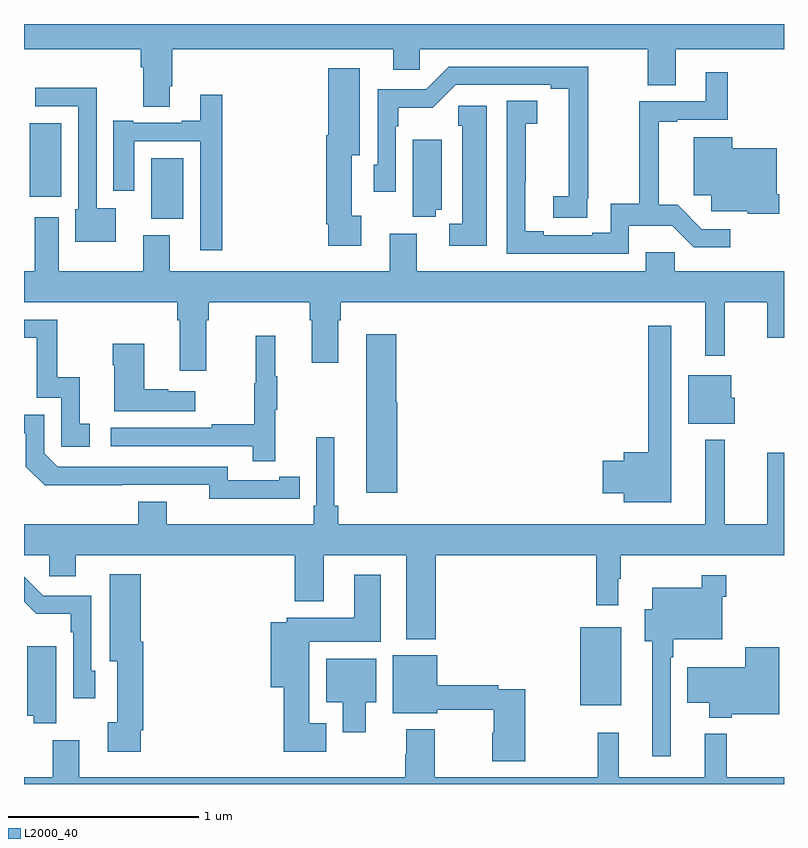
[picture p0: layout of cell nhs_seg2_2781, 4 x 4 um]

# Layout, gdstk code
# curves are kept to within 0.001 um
import gdstk
lib = gdstk.Library(unit=1e-6, precision=1e-09)
def R(c, l, rs):  # rectangles x0, y0, x1, y1
    for r in rs: c.add(gdstk.rectangle(r[:2], r[2:], *l))
def P(c, l, *ps):  # polygons
    for p in ps: c.add(gdstk.Polygon(p, *l))
L2000_40 = (2000, 40)

nhs_seg2_2781 = lib.new_cell('nhs_seg2_2781')
R(nhs_seg2_2781, L2000_40, [(259.928,612.215,260.143,612.625), (257.669,614.774,257.839,615.094), (257.03,614.891,257.197,615.277)])
P(nhs_seg2_2781, L2000_40, [(257.767,615.472),(257.779,615.472),(257.779,615.668),(258.944,615.668),(258.944,615.558),(259.083,615.558),(259.083,615.668),(260.284,615.668),(260.284,615.478),(260.431,615.478),(260.431,615.668),(261,615.668),(261,615.8),(257,615.8),(257,615.668),(257.615,615.668),(257.615,615.572),(257.627,615.572),(257.627,615.364),(257.767,615.364)],
  [(259.964,614.881),(259.97,614.881),(259.97,615.576),(259.236,615.576),(259.116,615.456),(258.861,615.456),(258.861,615.06),(258.84,615.06),(258.84,614.916),(258.957,614.916),(258.957,615.263),(258.97,615.263),(258.97,615.359),(259.151,615.359),(259.272,615.48),(259.772,615.48),(259.772,615.46),(259.868,615.46),(259.867,614.894),(259.785,614.894),(259.785,614.779),(259.964,614.779)],
  [(258.775,614.79),(258.724,614.79),(258.724,615.11),(258.766,615.11),(258.766,615.568),(258.602,615.568),(258.602,615.214),(258.59,615.214),(258.59,614.746),(258.602,614.746),(258.602,614.634),(258.775,614.634)],
  [(260.184,614.738),(260.413,614.738),(260.526,614.625),(260.716,614.625),(260.716,614.721),(260.568,614.721),(260.441,614.848),(260.342,614.848),(260.342,615.285),(260.437,615.285),(260.437,615.297),(260.705,615.297),(260.705,615.547),(260.588,615.547),(260.588,615.393),(260.239,615.393),(260.239,614.855),(260.088,614.855),(260.088,614.702),(259.991,614.702),(259.991,614.688),(259.735,614.688),(259.735,614.708),(259.639,614.708),(259.639,614.971),(259.641,614.971),(259.641,615.275),(259.702,615.275),(259.702,615.395),(259.542,615.395),(259.542,614.592),(260.184,614.592)],
  [(257.482,614.83),(257.382,614.83),(257.382,615.464),(257.058,615.464),(257.058,615.366),(257.286,615.366),(257.286,614.826),(257.27,614.826),(257.27,614.654),(257.482,614.654)],
  [(258.044,615.427),(257.927,615.427),(257.927,615.292),(257.831,615.292),(257.831,615.279),(257.575,615.279),(257.575,615.292),(257.471,615.292),(257.471,614.922),(257.581,614.922),(257.581,615.183),(257.928,615.183),(257.928,614.61),(258.044,614.61)],
  [(259.435,615.37),(259.285,615.37),(259.285,615.264),(259.307,615.264),(259.307,614.748),(259.239,614.748),(259.239,614.633),(259.435,614.633)],
  [(260.975,614.905),(260.962,614.905),(260.962,615.145),(260.728,615.145),(260.728,615.205),(260.525,615.205),(260.525,614.9),(260.616,614.9),(260.616,614.814),(260.808,614.814),(260.808,614.801),(260.975,614.801)],
  [(259.166,614.822),(259.198,614.822),(259.198,615.19),(259.046,615.19),(259.046,614.785),(259.166,614.785)],
  [(257.959,614.24),(257.972,614.24),(257.972,614.336),(258.503,614.336),(258.503,614.24),(258.515,614.24),(258.515,614.016),(258.655,614.016),(258.655,614.24),(258.668,614.24),(258.668,614.336),(260.585,614.336),(260.585,614.055),(260.689,614.055),(260.689,614.336),(260.912,614.336),(260.912,614.148),(261,614.148),(261,614.5),(260.425,614.5),(260.425,614.598),(260.273,614.598),(260.273,614.5),(259.066,614.5),(259.066,614.695),(258.926,614.695),(258.926,614.5),(257.767,614.5),(257.767,614.689),(257.627,614.689),(257.627,614.5),(257.182,614.5),(257.182,614.782),(257.057,614.782),(257.057,614.5),(257,614.5),(257,614.336),(257.807,614.336),(257.807,614.24),(257.819,614.24),(257.819,613.974),(257.959,613.974)],
  [(257.347,613.695),(257.294,613.695),(257.294,613.942),(257.176,613.942),(257.176,614.244),(257,614.244),(257,614.148),(257.067,614.148),(257.067,613.833),(257.196,613.833),(257.196,613.575),(257.347,613.575)],
  [(260.407,614.212),(260.286,614.212),(260.286,613.546),(260.156,613.546),(260.156,613.502),(260.045,613.502),(260.045,613.331),(260.156,613.331),(260.156,613.283),(260.407,613.283)],
  [(258.964,613.809),(258.959,613.809),(258.959,614.167),(258.8,614.167),(258.8,613.332),(258.964,613.332)],
  [(258.323,613.771),(258.334,613.771),(258.334,613.945),(258.323,613.945),(258.323,614.158),(258.22,614.158),(258.22,613.908),(258.213,613.908),(258.213,613.694),(257.989,613.694),(257.989,613.674),(257.457,613.674),(257.457,613.578),(258.205,613.578),(258.205,613.5),(258.323,613.5)],
  [(257.902,613.867),(257.759,613.867),(257.759,613.877),(257.632,613.877),(257.632,614.116),(257.467,614.116),(257.467,614.003),(257.474,614.003),(257.474,613.763),(257.902,613.763)],
  [(260.74,613.833),(260.722,613.833),(260.722,613.951),(260.495,613.951),(260.495,613.697),(260.74,613.697)],
  [(258.344,613.302),(258.452,613.302),(258.452,613.418),(258.344,613.418),(258.344,613.398),(258.072,613.398),(258.072,613.47),(257.178,613.47),(257.106,613.542),(257.106,613.743),(257,613.743),(257,613.647),(257.01,613.647),(257.01,613.47),(257.108,613.373),(257.976,613.374),(257.976,613.301)],
  [(259.166,613.004),(260.011,613.004),(260.011,612.741),(260.128,612.741),(260.128,612.881),(260.14,612.881),(260.14,613.004),(261,613.004),(261,613.543),(260.912,613.543),(260.912,613.168),(260.689,613.168),(260.689,613.612),(260.585,613.612),(260.585,613.168),(258.653,613.168),(258.653,613.264),(258.634,613.264),(258.634,613.624),(258.537,613.624),(258.537,613.264),(258.524,613.264),(258.524,613.168),(257.752,613.168),(257.752,613.285),(257.6,613.285),(257.6,613.168),(257,613.168),(257,613.004),(257.133,613.004),(257.133,612.894),(257.272,612.894),(257.272,613.004),(258.425,613.004),(258.425,612.761),(258.577,612.761),(258.577,613.004),(259.013,613.004),(259.013,612.563),(259.166,612.563)],
  [(257.614,612.082),(257.627,612.082),(257.627,612.55),(257.614,612.55),(257.614,612.904),(257.45,612.904),(257.45,612.446),(257.492,612.446),(257.492,612.126),(257.442,612.126),(257.442,611.97),(257.614,611.97)],
  [(258.592,612.121),(258.502,612.121),(258.502,612.548),(258.877,612.548),(258.877,612.901),(258.737,612.901),(258.737,612.676),(258.384,612.676),(258.384,612.652),(258.299,612.652),(258.299,612.308),(258.368,612.308),(258.368,611.969),(258.592,611.969)],
  [(260.403,612.467),(260.416,612.467),(260.416,612.563),(260.676,612.563),(260.676,612.785),(260.696,612.785),(260.696,612.898),(260.568,612.898),(260.568,612.832),(260.306,612.832),(260.306,612.721),(260.267,612.721),(260.267,612.551),(260.306,612.551),(260.306,611.946),(260.403,611.946)],
  [(257.376,612.396),(257.355,612.396),(257.355,612.792),(257.1,612.792),(257,612.892),(257,612.76),(257.065,612.695),(257.247,612.695),(257.247,612.599),(257.259,612.599),(257.259,612.252),(257.376,612.252)],
  [(257.17,612.526),(257.018,612.526),(257.018,612.158),(257.05,612.158),(257.05,612.121),(257.17,612.121)],
  [(260.724,612.167),(260.975,612.167),(260.975,612.52),(260.797,612.52),(260.797,612.415),(260.492,612.415),(260.492,612.227),(260.606,612.227),(260.606,612.149),(260.724,612.149)],
  [(259.638,612.3),(259.496,612.3),(259.496,612.32),(259.174,612.32),(259.174,612.478),(258.941,612.478),(258.941,612.173),(259.174,612.173),(259.174,612.192),(259.472,612.192),(259.472,612.069),(259.465,612.069),(259.465,611.921),(259.638,611.921)],
  [(258.799,612.23),(258.853,612.23),(258.853,612.46),(258.59,612.46),(258.59,612.23),(258.677,612.23),(258.677,612.072),(258.799,612.072)],
  [(261,611.836),(260.699,611.836),(260.699,612.064),(260.582,612.064),(260.582,611.836),(260.129,611.836),(260.129,612.07),(260.019,612.07),(260.019,611.836),(259.161,611.836),(259.161,612.088),(259.013,612.088),(259.013,611.957),(259.006,611.957),(259.006,611.836),(257.29,611.836),(257.29,612.031),(257.15,612.031),(257.15,611.836),(257,611.836),(257,611.8),(261,611.8)])

lib.write_gds('nhs_seg2_2781.gds')
